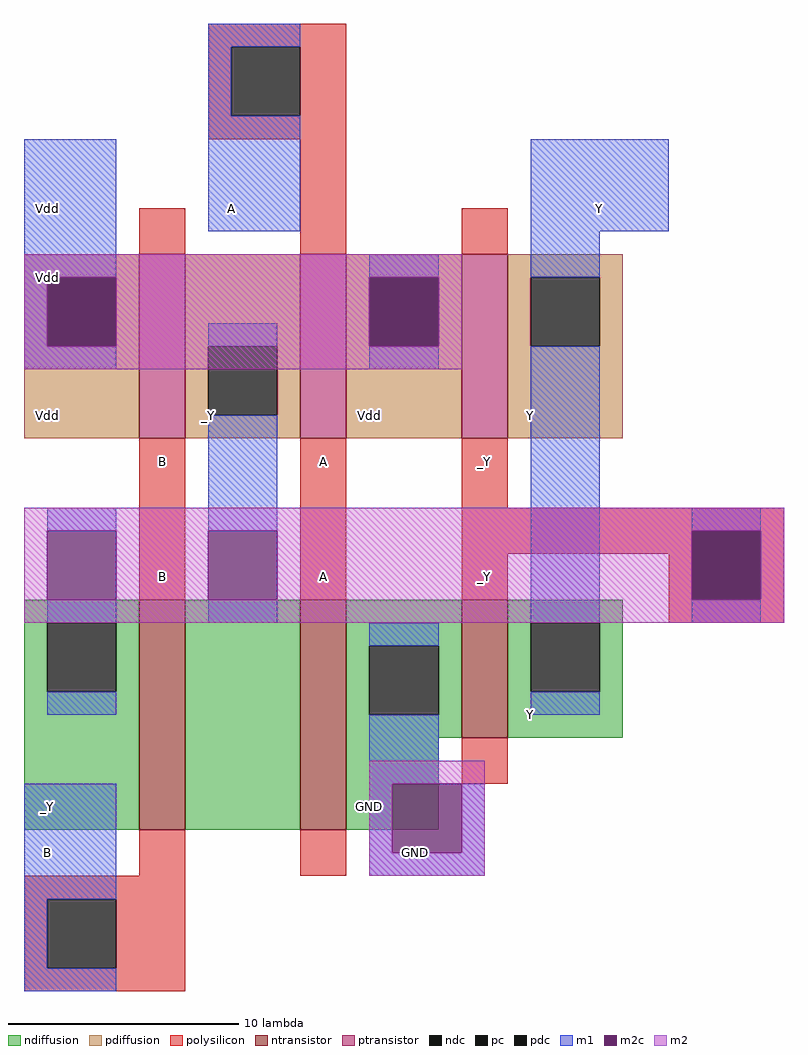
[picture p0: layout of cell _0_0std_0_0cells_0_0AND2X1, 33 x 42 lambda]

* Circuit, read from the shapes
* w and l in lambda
.subckt _0_0std_0_0cells_0_0AND2X1 A B GND Vdd Y _Y
M1 n1 B _Y VSUBS nfet w=10 l=2
M2 GND A n1 VSUBS nfet w=10 l=2
M3 Y _Y GND VSUBS nfet w=6 l=2
M4 _Y B Vdd NWELL pfet w=8 l=2
M5 Vdd A _Y NWELL pfet w=8 l=2
M6 Y _Y Vdd NWELL pfet w=8 l=2
.ends

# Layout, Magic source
magic
tech sky130l
<< ndiffusion >>
rect 8 15 13 16
rect 8 12 9 15
rect 12 12 13 15
rect 8 6 13 12
rect 15 6 20 16
rect 22 14 27 16
rect 22 11 23 14
rect 26 11 27 14
rect 22 10 27 11
rect 29 15 34 16
rect 29 12 30 15
rect 33 12 34 15
rect 29 10 34 12
rect 22 6 26 10
<< ndc >>
rect 9 12 12 15
rect 23 11 26 14
rect 30 12 33 15
<< ntransistor >>
rect 13 6 15 16
rect 20 6 22 16
rect 27 10 29 16
<< pdiffusion >>
rect 8 30 13 31
rect 8 27 9 30
rect 12 27 13 30
rect 8 23 13 27
rect 15 27 20 31
rect 15 24 16 27
rect 19 24 20 27
rect 15 23 20 24
rect 22 30 27 31
rect 22 27 23 30
rect 26 27 27 30
rect 22 23 27 27
rect 29 30 34 31
rect 29 27 30 30
rect 33 27 34 30
rect 29 23 34 27
<< pdc >>
rect 9 27 12 30
rect 16 24 19 27
rect 23 27 26 30
rect 30 27 33 30
<< ptransistor >>
rect 13 23 15 31
rect 20 23 22 31
rect 27 23 29 31
<< polysilicon >>
rect 16 40 22 41
rect 16 37 17 40
rect 20 37 22 40
rect 16 36 22 37
rect 13 31 15 33
rect 20 31 22 36
rect 27 31 29 33
rect 13 16 15 23
rect 20 16 22 23
rect 27 20 29 23
rect 27 19 41 20
rect 27 18 37 19
rect 27 16 29 18
rect 36 16 37 18
rect 40 16 41 19
rect 36 15 41 16
rect 27 8 29 10
rect 13 4 15 6
rect 20 4 22 6
rect 8 3 15 4
rect 8 0 9 3
rect 12 0 15 3
rect 8 -1 15 0
<< pc >>
rect 17 37 20 40
rect 37 16 40 19
rect 9 0 12 3
<< m1 >>
rect 16 40 20 41
rect 16 37 17 40
rect 8 30 12 36
rect 16 32 20 37
rect 30 32 36 36
rect 8 27 9 30
rect 23 30 26 31
rect 8 26 12 27
rect 16 27 19 28
rect 23 26 26 27
rect 30 30 33 32
rect 9 19 12 20
rect 9 15 12 16
rect 16 19 19 24
rect 16 15 19 16
rect 30 15 33 27
rect 37 19 40 20
rect 37 15 40 16
rect 9 11 12 12
rect 23 14 26 15
rect 30 11 33 12
rect 23 8 26 11
rect 8 3 12 8
rect 23 5 24 8
rect 27 5 28 8
rect 23 4 28 5
rect 8 0 9 3
rect 8 -1 12 0
<< m2c >>
rect 9 27 12 30
rect 23 27 26 30
rect 9 16 12 19
rect 16 16 19 19
rect 37 16 40 19
rect 24 5 27 8
<< m2 >>
rect 8 30 27 31
rect 8 27 9 30
rect 12 27 23 30
rect 26 27 27 30
rect 8 26 27 27
rect 8 19 41 20
rect 8 16 9 19
rect 12 16 16 19
rect 19 16 37 19
rect 40 16 41 19
rect 8 15 41 16
rect 23 8 28 9
rect 23 5 24 8
rect 27 5 28 8
rect 23 4 28 5
<< labels >>
rlabel ndiffusion 30 11 30 11 3 Y
rlabel polysilicon 28 17 28 17 3 _Y
rlabel polysilicon 28 22 28 22 3 _Y
rlabel pdiffusion 30 24 30 24 3 Y
rlabel ndiffusion 23 7 23 7 3 GND
rlabel pdiffusion 23 24 23 24 3 Vdd
rlabel polysilicon 21 17 21 17 3 A
rlabel polysilicon 21 22 21 22 3 A
rlabel pdiffusion 16 24 16 24 3 _Y
rlabel polysilicon 14 17 14 17 3 B
rlabel polysilicon 14 22 14 22 3 B
rlabel ndiffusion 9 7 9 7 3 _Y
rlabel pdiffusion 9 24 9 24 3 Vdd
rlabel m1 33 33 33 33 3 Y
rlabel m1 9 33 9 33 3 Vdd
rlabel m1 17 33 17 33 3 A
rlabel m1 9 5 9 5 3 B
rlabel m2 25 5 25 5 3 GND
rlabel m2 9 30 9 30 3 Vdd
<< end >>
